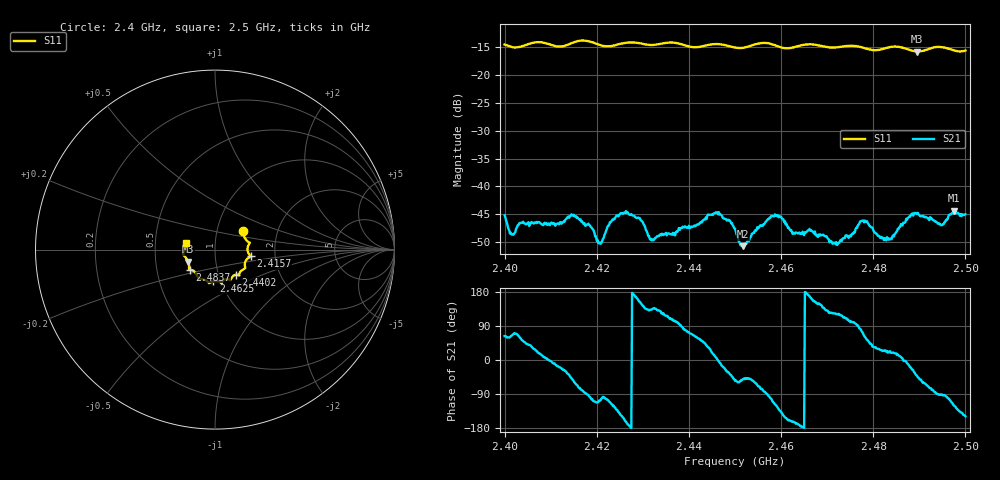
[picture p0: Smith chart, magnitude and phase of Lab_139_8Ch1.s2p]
# Hz S RI R 50
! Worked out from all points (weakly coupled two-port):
!   601 points, 2.4 GHz to 2.5 GHz, reference 50 ohm
!   highest |S21| = -44.38 dB at 2.4975 GHz (marker M1); lowest = -50.7 dB at 2.4517 GHz (marker M2)
!   lowest |S11| = -15.7 dB at 2.4895 GHz (marker M3), VSWR 1.39, Z = 36.8 - j5.14 ohm
!   |S11| at or under -10 dB: start of sweep to end of sweep
!   S12 and S22 are empty: the file has one direction only
!   S11 on the Smith chart (normalised r, x): 2.4 GHz: 1.33, +0.29; 2.4157 GHz: 1.49, -0.11; 2.4402 GHz: 1.20, -0.35; 2.4625 GHz: 0.92, -0.34; 2.4837 GHz: 0.74, -0.17; 2.5 GHz: 0.72, +0.05
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2.4e9  0.1564 0.1058  0.00249 0.00493  0 0  0 0
2.401667e9  0.1596 0.0811  0.00151 0.0034  0 0  0 0
2.415667e9  0.1988 -0.0364  0.00214 -0.00474  0 0  0 0
2.416667e9  0.2015 -0.0398  0.000952 -0.00472  0 0  0 0
2.4205e9  0.1817 -0.0494  -0.000897 -0.00295  0 0  0 0
2.426167e9  0.1686 -0.0991  -0.0055 -0.00185  0 0  0 0
2.433333e9  0.1353 -0.1337  -0.00237 0.00269  0 0  0 0
2.440167e9  0.1143 -0.1403  0.00142 0.00397  0 0  0 0
2.446e9  0.0852 -0.1708  0.00581 0.000483  0 0  0 0
2.45e9  0.064 -0.1657  0.00239 -0.00342  0 0  0 0
2.451667e9  0.0482 -0.1694  0.00183 -0.00225  0 0  0 0
2.458333e9  0.0343 -0.1854  -0.00196 -0.00504  0 0  0 0
2.4625e9  -0.00988 -0.1771  -0.00357 -0.00115  0 0  0 0
2.466667e9  -0.0336 -0.1866  -0.00374 0.00132  0 0  0 0
2.472167e9  -0.0694 -0.1643  -0.00152 0.00256  0 0  0 0
2.478167e9  -0.0999 -0.1437  0.00235 0.00435  0 0  0 0
2.483333e9  -0.1384 -0.1122  0.00308 0.00124  0 0  0 0
2.483667e9  -0.1403 -0.1118  0.00308 0.00131  0 0  0 0
2.4895e9  -0.1484 -0.0681  0.00421 -0.00377  0 0  0 0
2.494833e9  -0.1778 -0.0219  -6.54e-05 -0.0045  0 0  0 0
2.4975e9  -0.1673 -0.00117  -0.00302 -0.00523  0 0  0 0
2.5e9  -0.1627 0.0362  -0.0048 -0.00294  0 0  0 0
